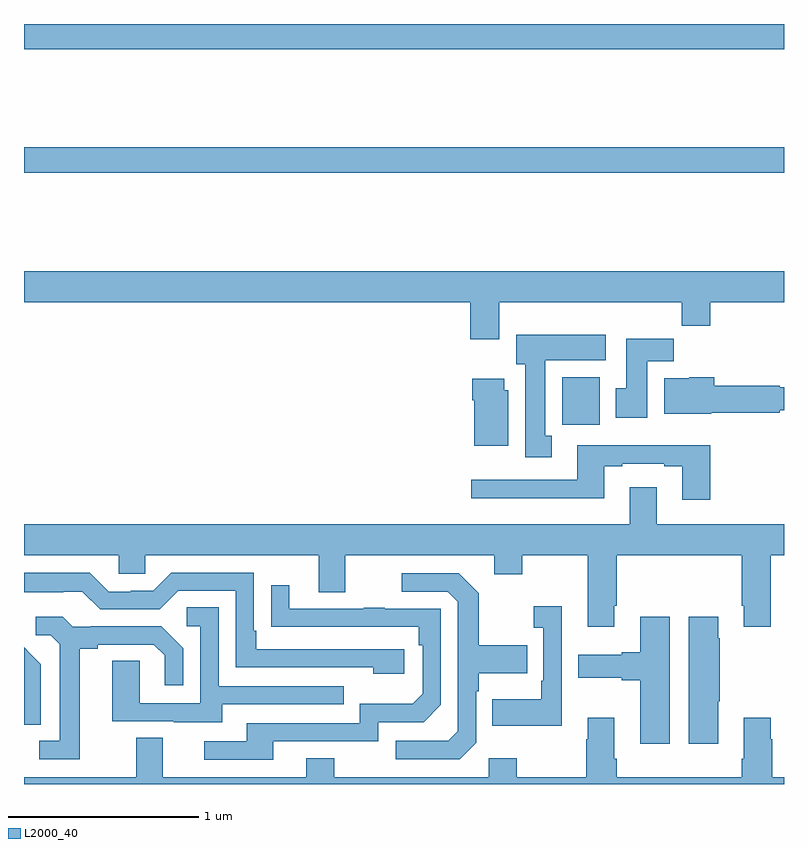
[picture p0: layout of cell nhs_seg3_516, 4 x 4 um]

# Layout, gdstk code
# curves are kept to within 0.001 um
import gdstk
lib = gdstk.Library(unit=1e-6, precision=1e-09)
def R(c, l, rs):  # rectangles x0, y0, x1, y1
    for r in rs: c.add(gdstk.rectangle(r[:2], r[2:], *l))
def P(c, l, *ps):  # polygons
    for p in ps: c.add(gdstk.Polygon(p, *l))
L2000_40 = (2000, 40)

nhs_seg3_516 = lib.new_cell('nhs_seg3_516')
R(nhs_seg3_516, L2000_40, [(139.833,680.292,140.029,680.542), (137,681.616,141,681.752), (137,682.268,141,682.4)])
P(nhs_seg3_516, L2000_40, [(139.501,680.936),(140.461,680.936),(140.461,680.812),(140.613,680.812),(140.613,680.936),(141,680.936),(141,681.1),(137,681.1),(137,680.936),(139.349,680.936),(139.349,680.742),(139.501,680.742)],
  [(139.777,680.233),(139.744,680.233),(139.744,680.63),(140.062,680.63),(140.062,680.764),(139.592,680.764),(139.592,680.61),(139.637,680.61),(139.637,680.121),(139.777,680.121)],
  [(140.281,680.624),(140.42,680.624),(140.42,680.743),(140.171,680.743),(140.171,680.484),(140.114,680.484),(140.114,680.328),(140.281,680.328)],
  [(140.616,680.354),(140.978,680.354),(140.978,680.366),(141,680.366),(141,680.488),(140.978,680.488),(140.978,680.496),(140.633,680.496),(140.633,680.542),(140.502,680.542),(140.502,680.536),(140.369,680.536),(140.369,680.348),(140.616,680.348)],
  [(139.549,680.472),(139.528,680.472),(139.528,680.533),(139.358,680.533),(139.358,680.42),(139.37,680.42),(139.37,680.18),(139.549,680.18)],
  [(140.613,680.182),(139.913,680.182),(139.913,680.001),(139.353,680.001),(139.353,679.904),(140.053,679.904),(140.053,680.073),(140.149,680.073),(140.149,680.085),(140.369,680.085),(140.369,680.073),(140.465,680.073),(140.465,679.896),(140.613,679.896)],
  [(137,679.604),(137.499,679.604),(137.499,679.506),(137.637,679.506),(137.637,679.604),(138.551,679.604),(138.551,679.41),(138.691,679.41),(138.691,679.604),(139.475,679.604),(139.475,679.505),(139.623,679.505),(139.623,679.604),(139.967,679.604),(139.967,679.227),(140.107,679.227),(140.107,679.339),(140.12,679.339),(140.12,679.604),(140.777,679.604),(140.777,679.339),(140.789,679.339),(140.789,679.227),(140.929,679.227),(140.929,679.604),(141,679.604),(141,679.768),(140.329,679.768),(140.329,679.963),(140.189,679.963),(140.189,679.768),(137,679.768)],
  [(139,679.11),(138.223,679.11),(138.223,679.207),(138.21,679.207),(138.21,679.512),(137.775,679.512),(137.679,679.416),(137.561,679.416),(137.561,679.413),(137.445,679.413),(137.345,679.513),(137,679.513),(137,679.409),(137.207,679.409),(137.207,679.413),(137.307,679.413),(137.4,679.32),(137.715,679.32),(137.811,679.416),(138.114,679.416),(138.114,679.014),(138.839,679.014),(138.839,678.98),(139,678.98)],
  [(139.38,678.618),(139.38,678.887),(139.393,678.887),(139.393,678.983),(139.649,678.983),(139.649,679.131),(139.393,679.131),(139.393,679.403),(139.287,679.509),(138.987,679.509),(138.987,679.413),(139.23,679.413),(139.284,679.359),(139.284,678.678),(139.233,678.627),(138.957,678.627),(138.957,678.531),(139.293,678.531)],
  [(138.313,678.624),(138.864,678.624),(138.864,678.726),(139.104,678.726),(139.194,678.816),(139.194,679.323),(138.899,679.323),(138.899,679.328),(138.787,679.328),(138.787,679.323),(138.397,679.323),(138.397,679.447),(138.301,679.447),(138.301,679.228),(139.078,679.227),(139.078,679.13),(139.098,679.13),(139.098,678.876),(139.045,678.823),(138.768,678.823),(138.768,678.72),(138.173,678.72),(138.173,678.624),(137.949,678.624),(137.949,678.528),(138.313,678.528)],
  [(139.83,679.336),(139.683,679.336),(139.683,679.223),(139.734,679.223),(139.734,678.943),(139.722,678.943),(139.722,678.847),(139.465,678.847),(139.465,678.707),(139.83,678.707)],
  [(138.043,678.819),(138.683,678.819),(138.683,678.915),(138.024,678.915),(138.024,679.331),(137.856,679.331),(137.856,679.23),(137.928,679.23),(137.928,678.825),(137.61,678.825),(137.61,679.049),(137.465,679.049),(137.465,678.729),(137.789,678.729),(137.789,678.725),(138.043,678.725)],
  [(140.653,678.835),(140.661,678.835),(140.661,679.166),(140.653,679.166),(140.653,679.279),(140.498,679.279),(140.498,678.612),(140.653,678.612)],
  [(140.398,679.279),(140.243,679.279),(140.243,679.094),(140.147,679.094),(140.147,679.081),(139.917,679.081),(139.917,678.959),(140.147,678.959),(140.147,678.947),(140.243,678.947),(140.243,678.612),(140.398,678.612)],
  [(137.293,679.112),(137.389,679.112),(137.389,679.134),(137.684,679.134),(137.741,679.077),(137.741,678.921),(137.838,678.921),(137.838,679.114),(137.722,679.23),(137.35,679.23),(137.35,679.227),(137.256,679.227),(137.204,679.279),(137.061,679.279),(137.061,679.182),(137.142,679.182),(137.189,679.135),(137.189,678.627),(137.079,678.627),(137.079,678.531),(137.293,678.531)],
  [(137.088,679.03),(137.015,679.103),(137.016,679.104),(137,679.12),(137,678.712),(137.088,678.712)],
  [(141,678.436),(140.937,678.436),(140.937,678.635),(140.929,678.635),(140.929,678.748),(140.789,678.748),(140.789,678.532),(140.777,678.532),(140.777,678.436),(140.12,678.436),(140.12,678.532),(140.107,678.532),(140.107,678.748),(139.967,678.748),(139.967,678.635),(139.96,678.635),(139.96,678.436),(139.593,678.436),(139.593,678.535),(139.446,678.535),(139.446,678.436),(138.633,678.436),(138.633,678.535),(138.485,678.535),(138.485,678.436),(137.731,678.436),(137.731,678.644),(137.591,678.644),(137.591,678.436),(137,678.436),(137,678.4),(141,678.4)])

lib.write_gds('nhs_seg3_516.gds')
